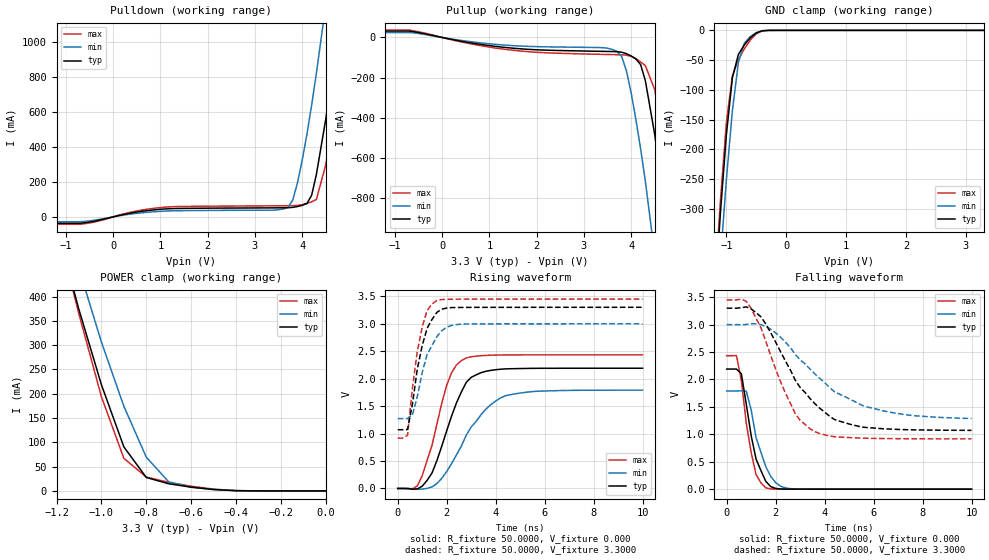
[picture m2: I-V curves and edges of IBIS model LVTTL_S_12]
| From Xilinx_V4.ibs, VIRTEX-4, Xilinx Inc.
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|   Model LVTTL_S_12
[Model]   LVTTL_S_12
Model_type   I/O
Polarity   Non-Inverting
Enable   Active-Low
Vinh = 2.0V
Vinl = 0.8V
Vmeas =   1.65V
Cref =  0.000F
Rref =   1.0000M
Vref =  0.000V
C_comp   8.0000pF   8.0000pF   8.0000pF
[Temperature Range]   25.0000   85.0000   0.000
[Voltage Range]   3.3000V   3.0000V   3.4500V
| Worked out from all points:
|   slope of the pulldown table from 0 to 0.495 V, typ, clamps not added: 18.1 ohm
|   slope of the pullup table from 0 to 0.495 V, typ, clamps not added: 22 ohm
|   GND clamp passes 1 mA (typ) near -0.41 V on its own axis
|   POWER clamp passes 1 mA (typ) near -0.42 V on its own axis
|   rising waveform, R_fixture 50.0000, V_fixture 0.000: 20-80 % time 1.06ns typ, 1.51ns min, 877ps max; typ from 0 V to 2.19 V
|   rising waveform, R_fixture 50.0000, V_fixture 3.3000: 20-80 % time 568ps typ, 692ps min, 496ps max; typ from 1.07 V to 3.3 V
|   falling waveform, R_fixture 50.0000, V_fixture 0.000: 20-80 % time 578ps typ, 652ps min, 482ps max; typ from 2.19 V to 0 V
|   falling waveform, R_fixture 50.0000, V_fixture 3.3000: 20-80 % time 1.9ns typ, 2.63ns min, 1.36ns max; typ from 3.3 V to 1.07 V
[Pulldown]
| voltage   I(typ)   I(min)   I(max)
-3.3V     -36.42mA   -27.8mA    -42.04mA
-700mV    -36.42mA   -27.8mA    -42.04mA
1V        43.2mA     31.54mA    53.04mA
3.6V      51.74mA    45.03mA    63.47mA
3.8V      54.29mA    95.98mA    64.13mA
3.9V      59mA       194.7mA    65.5mA
4.2V      123.6mA    638.1mA    85.99mA
4.3V      242mA      820.1mA    99.08mA
4.5V      559.6mA    1.212A     298.6mA
4.7V      930.2mA    1.613A     660.3mA
4.9V      1.327A     2.016A     1.057A
6.6V      4.798A     5.448A     4.688A
[Pullup]
| voltage   I(typ)   I(min)   I(max)
-3.3V     32.05mA    24.29mA    36.97mA
-700mV    32.05mA    24.29mA    36.97mA
1.3V      -48.9mA    -37.53mA   -58.17mA
3.4V      -69.25mA   -50.9mA    -84.35mA
3.7V      -70.76mA   -69.49mA   -85.88mA
3.9V      -80.89mA   -166.1mA   -88.07mA
4.2V      -135.3mA   -555.2mA   -121.7mA
4.3V      -214.8mA   -716mA     -140.6mA
4.5V      -485.8mA   -1.087A    -260.7mA
4.7V      -825.1mA   -1.483A    -556.5mA
4.9V      -1.224A    -1.88A     -915.5mA
6.6V      -4.733A    -5.27A     -4.501A
[GND_clamp]
| voltage   I(typ)   I(min)   I(max)
-3.3V     -4.72A     -4.659A    -4.806A
-1.2V     -458.4mA   -535.2mA   -443.2mA
-1.1V     -307mA     -386mA     -286.5mA
-1V       -174.9mA   -250.6mA   -154.8mA
-900mV    -79.61mA   -134.7mA   -76.27mA
-800mV    -40.54mA   -53.98mA   -48.94mA
-700mV    -24.41mA   -21.32mA   -30.96mA
-600mV    -12.44mA   -10.24mA   -16.17mA
-500mV    -4.23mA    -3.859mA   -5.633mA
-400mV    -647uA     -794.1uA   -841.7uA
-300mV    -43.22uA   -80.71uA   -50.76uA
3.3V      335.4nA    78.77uA    333.2nA
[POWER_clamp]
| voltage   I(typ)   I(min)   I(max)
-3.3V     4.787A     4.834A     5.001A
-1.2V     543.3mA    626.5mA    548.4mA
-1.1V     373.1mA    457.2mA    363.5mA
-1V       218.5mA    306.5mA    193.9mA
-900mV    90.67mA    174.3mA    67.17mA
-800mV    27.68mA    69.38mA    28.46mA
-700mV    14.76mA    18.63mA    17.76mA
-600mV    7.79mA     7.541mA    9.625mA
-500mV    2.851mA    2.955mA    3.657mA
-400mV    489.6uA    668.4uA    637.8uA
0V        335.4nA    354.6nA    348.7nA
[Ramp]
| variable   typ   min   max
dV/dt_r   1.3140/1.0487n   1.0746/1.5019n   1.4604/0.8135n
dV/dt_f   1.3368/1.8996n   1.0272/2.6289n   1.5197/1.3873n
R_load = 50.0000
[Rising Waveform]
R_fixture = 50.0000
V_fixture = 0.000
| time   V(typ)   V(min)   V(max)
0s        0V         615.2nV    0V
800ps     -9.427mV   -12.39mV   45.2mV
1.4ns     281.6mV    28.03mV    784.7mV
2ns       1.051V     307.4mV    1.879V
2.2ns     1.319V     453.9mV    2.11V
2.6ns     1.758V     774.1mV    2.329V
3ns       2.024V     1.119V     2.4V
3.8ns     2.151V     1.526V     2.427V
4.4ns     2.178V     1.69V      2.432V
10ns      2.19V      1.791V     2.434V
[Rising Waveform]
R_fixture = 50.0000
V_fixture = 3.3000
V_fixture_min = 3.0000
V_fixture_max = 3.4500
| time   V(typ)   V(min)   V(max)
0s        1.07V      1.272V     916.8mV
400ps     1.073V     1.272V     968.5mV
600ps     1.536V     1.34V      1.825V
800ps     2.177V     1.67V      2.502V
1ns       2.603V     2.117V     2.94V
1.2ns     2.917V     2.439V     3.241V
1.6ns     3.208V     2.768V     3.424V
2ns       3.287V     2.938V     3.446V
2.6ns     3.297V     2.993V     3.449V
10ns      3.3V       3V         3.45V
[Falling Waveform]
R_fixture = 50.0000
V_fixture = 0.000
| time   V(typ)   V(min)   V(max)
0s        2.19V      1.791V     2.434V
400ps     2.19V      1.791V     2.435V
600ps     2.103V     1.793V     1.978V
800ps     1.55V      1.786V     1.203V
1ns       975.8mV    1.445V     668.2mV
1.2ns     548.9mV    938.5mV    265.4mV
1.6ns     140.5mV    408.1mV    24.55mV
2ns       13.68mV    118.4mV    1.456mV
2.6ns     1.035mV    9.195mV    641.6uV
10ns      3.874uV    18.61uV    1.594uV
[Falling Waveform]
R_fixture = 50.0000
V_fixture = 3.3000
V_fixture_min = 3.0000
V_fixture_max = 3.4500
| time   V(typ)   V(min)   V(max)
0s        3.3V       3V         3.45V
800ps     3.323V     3.002V     3.424V
1.4ns     3.142V     2.998V     2.942V
2.2ns     2.507V     2.771V     1.957V
2.8ns     1.989V     2.458V     1.381V
3.6ns     1.56V      2.103V     1.05V
4.4ns     1.27V      1.777V     956.9mV
5.6ns     1.129V     1.516V     928.8mV
7.6ns     1.081V     1.341V     918.8mV
10ns      1.072V     1.288V     917.1mV
